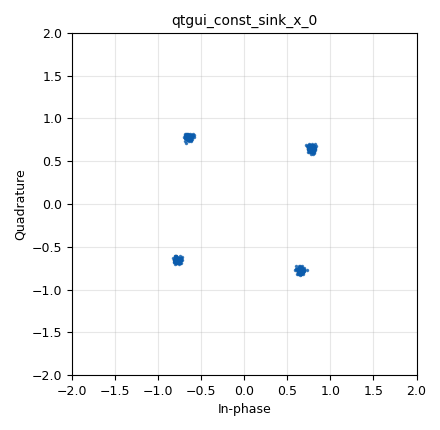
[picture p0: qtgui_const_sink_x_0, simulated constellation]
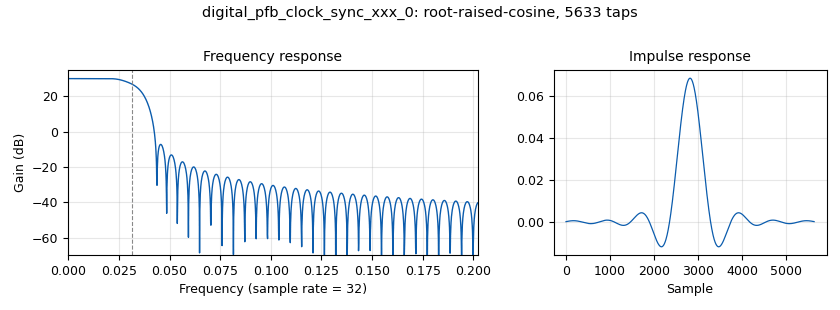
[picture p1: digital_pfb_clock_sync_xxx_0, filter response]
<?xml version='1.0' encoding='utf-8'?>
<?grc format='1' created='3.7.6'?>
<flow_graph>
<block>
<key>variable</key>
<param><key>id</key><value>samp_rate</value></param>
<param><key>value</key><value>32000</value></param>
</block>
<block>
<key>variable</key>
<param><key>id</key><value>taps</value></param>
<param><key>value</key><value>[1.0, 0.25-0.25j, 0.50 + 0.10j, -0.3 + 0.2j]</value></param>
</block>
<block>
<key>variable</key>
<param><key>id</key><value>rrc_taps</value></param>
<param><key>value</key><value>firdes.root_raised_cosine(nfilts, nfilts, 1.0/float(sps), 0.35, 11*sps*nfilts)</value></param>
</block>
<block>
<key>variable</key>
<param><key>id</key><value>nfilts</value></param>
<param><key>value</key><value>32</value></param>
</block>
<block>
<key>variable</key>
<param><key>id</key><value>excess_bw</value></param>
<param><key>value</key><value>0.35</value></param>
</block>
<block>
<key>variable</key>
<param><key>id</key><value>sps</value></param>
<param><key>value</key><value>16</value></param>
</block>
<block>
<key>digital_fll_band_edge_cc</key>
<param><key>id</key><value>digital_fll_band_edge_cc_0</value></param>
<param><key>type</key><value>cc</value></param>
<param><key>samps_per_sym</key><value>4</value></param>
<param><key>rolloff</key><value>excess_bw</value></param>
<param><key>filter_size</key><value>45</value></param>
<param><key>w</key><value>fll</value></param>
</block>
<block>
<key>variable_constellation_rect</key>
<param><key>id</key><value>qpsk</value></param>
<param><key>sym_map</key><value>[0, 1, 2, 3]</value></param>
<param><key>const_points</key><value>[0.707+0.707j, -0.707+0.707j, -0.707-0.707j, 0.707-0.707j]</value></param>
<param><key>rot_sym</key><value>4</value></param>
<param><key>real_sect</key><value>2</value></param>
<param><key>imag_sect</key><value>2</value></param>
<param><key>w_real_sect</key><value>1</value></param>
<param><key>w_imag_sect</key><value>1</value></param>
<param><key>softbits_lut</key><value>None</value></param>
</block>
<block>
<key>variable_constellation_rect</key>
<param><key>id</key><value>qpsk_0</value></param>
<param><key>sym_map</key><value>[0, 1, 3, 2]</value></param>
<param><key>const_points</key><value>[-1-1j, -1+1j, 1+1j, 1-1j]</value></param>
<param><key>rot_sym</key><value>4</value></param>
<param><key>real_sect</key><value>2</value></param>
<param><key>imag_sect</key><value>2</value></param>
<param><key>w_real_sect</key><value>1</value></param>
<param><key>w_imag_sect</key><value>1</value></param>
<param><key>softbits_lut</key><value>None</value></param>
</block>
<block>
<key>variable_constellation_rect</key>
<param><key>id</key><value>bpsk</value></param>
<param><key>sym_map</key><value>[0, 1]</value></param>
<param><key>const_points</key><value>[-1, 1]</value></param>
<param><key>rot_sym</key><value>2</value></param>
<param><key>real_sect</key><value>2</value></param>
<param><key>imag_sect</key><value>1</value></param>
<param><key>w_real_sect</key><value>1</value></param>
<param><key>w_imag_sect</key><value>1</value></param>
<param><key>softbits_lut</key><value>None</value></param>
</block>
<block>
<key>variable_constellation_rect</key>
<param><key>id</key><value>qam</value></param>
<param><key>sym_map</key><value>[0, 1, 2, 3]</value></param>
<param><key>const_points</key><value>[3.0-4.0j, -3.0-4.0j, -3.0+4.0j, 3.0+4.0j]</value></param>
<param><key>rot_sym</key><value>4</value></param>
<param><key>real_sect</key><value>2</value></param>
<param><key>imag_sect</key><value>2</value></param>
<param><key>w_real_sect</key><value>1</value></param>
<param><key>w_imag_sect</key><value>1</value></param>
<param><key>softbits_lut</key><value>None</value></param>
</block>
<block>
<key>variable_qtgui_range</key>
<param><key>id</key><value>agc</value></param>
<param><key>label</key><value>agc</value></param>
<param><key>value</key><value>7</value></param>
<param><key>start</key><value>0</value></param>
<param><key>stop</key><value>10</value></param>
<param><key>step</key><value>0.1</value></param>
<param><key>widget</key><value>slider</value></param>
<param><key>orient</key><value>Qt.Vertical</value></param>
<param><key>gui_hint</key><value>0,2,3,1</value></param>
</block>
<block>
<key>variable_qtgui_range</key>
<param><key>id</key><value>pcs</value></param>
<param><key>label</key><value>ClockSync LBW</value></param>
<param><key>value</key><value>0.2</value></param>
<param><key>start</key><value>0.0</value></param>
<param><key>stop</key><value>1</value></param>
<param><key>step</key><value>0.01</value></param>
<param><key>widget</key><value>slider</value></param>
<param><key>orient</key><value>Qt.Vertical</value></param>
<param><key>gui_hint</key><value>0,3,3,1</value></param>
</block>
<block>
<key>variable_qtgui_range</key>
<param><key>id</key><value>lms</value></param>
<param><key>label</key><value>LMS Gain</value></param>
<param><key>value</key><value>0.000001</value></param>
<param><key>start</key><value>0.000001</value></param>
<param><key>stop</key><value>0.1</value></param>
<param><key>step</key><value>0.0001</value></param>
<param><key>widget</key><value>slider</value></param>
<param><key>orient</key><value>Qt.Vertical</value></param>
<param><key>gui_hint</key><value>0,4,3,1</value></param>
</block>
<block>
<key>variable_qtgui_range</key>
<param><key>id</key><value>fll</value></param>
<param><key>label</key><value>FLL LBW</value></param>
<param><key>value</key><value>0.034</value></param>
<param><key>start</key><value>0.0</value></param>
<param><key>stop</key><value>6.28/10.0</value></param>
<param><key>step</key><value>0.0001</value></param>
<param><key>widget</key><value>slider</value></param>
<param><key>orient</key><value>Qt.Vertical</value></param>
<param><key>gui_hint</key><value>0,5,3,1</value></param>
</block>
<block>
<key>variable_qtgui_range</key>
<param><key>id</key><value>cl</value></param>
<param><key>label</key><value>CL LBW</value></param>
<param><key>value</key><value>0.34</value></param>
<param><key>start</key><value>0.0</value></param>
<param><key>stop</key><value>1.0</value></param>
<param><key>step</key><value>0.01</value></param>
<param><key>widget</key><value>slider</value></param>
<param><key>orient</key><value>Qt.Vertical</value></param>
<param><key>gui_hint</key><value>0,6,3,1</value></param>
</block>
<block>
<key>digital_pfb_clock_sync_xxx</key>
<param><key>id</key><value>digital_pfb_clock_sync_xxx_0</value></param>
<param><key>type</key><value>ccf</value></param>
<param><key>sps</key><value>sps</value></param>
<param><key>loop_bw</key><value>pcs</value></param>
<param><key>taps</key><value>rrc_taps</value></param>
<param><key>filter_size</key><value>nfilts</value></param>
<param><key>init_phase</key><value>16</value></param>
<param><key>max_dev</key><value>1.5</value></param>
<param><key>osps</key><value>sps/4</value></param>
</block>
<block>
<key>digital_lms_dd_equalizer_cc</key>
<param><key>id</key><value>digital_lms_dd_equalizer_cc_0</value></param>
<param><key>_enabled</key><value>False</value></param>
<param><key>mu</key><value>lms</value></param>
<param><key>num_taps</key><value>21</value></param>
<param><key>sps</key><value>4</value></param>
<param><key>cnst</key><value>qpsk_0</value></param>
</block>
<block>
<key>digital_costas_loop_cc</key>
<param><key>id</key><value>digital_costas_loop_cc_0</value></param>
<param><key>w</key><value>cl</value></param>
<param><key>order</key><value>4</value></param>
</block>
<block>
<key>qtgui_freq_sink_x</key>
<param><key>id</key><value>qtgui_freq_sink_x_0</value></param>
<param><key>_enabled</key><value>False</value></param>
<param><key>type</key><value>float</value></param>
<param><key>fftsize</key><value>1024/2</value></param>
<param><key>wintype</key><value>firdes.WIN_BLACKMAN_hARRIS</value></param>
<param><key>fc</key><value>0</value></param>
<param><key>bw</key><value>samp_rate</value></param>
<param><key>update_time</key><value>0.10/2</value></param>
<param><key>gui_hint</key><value>1,0,1,1</value></param>
<param><key>showports</key><value>True</value></param>
</block>
<block>
<key>variable_qtgui_range</key>
<param><key>id</key><value>carr_freq</value></param>
<param><key>label</key><value>carr_freq</value></param>
<param><key>value</key><value>8000</value></param>
<param><key>start</key><value>0</value></param>
<param><key>stop</key><value>22000</value></param>
<param><key>step</key><value>1000</value></param>
<param><key>widget</key><value>slider</value></param>
<param><key>orient</key><value>Qt.Vertical</value></param>
<param><key>gui_hint</key><value>0,1,3,1</value></param>
</block>
<block>
<key>digital_cma_equalizer_cc</key>
<param><key>id</key><value>digital_cma_equalizer_cc_0</value></param>
<param><key>num_taps</key><value>11</value></param>
<param><key>modulus</key><value>1</value></param>
<param><key>mu</key><value>lms</value></param>
<param><key>sps</key><value>sps/4</value></param>
</block>
<block>
<key>qtgui_const_sink_x</key>
<param><key>id</key><value>qtgui_const_sink_x_0</value></param>
<param><key>type</key><value>complex</value></param>
<param><key>size</key><value>1024/2</value></param>
<param><key>grid</key><value>True</value></param>
<param><key>update_time</key><value>0.10/2</value></param>
<param><key>gui_hint</key><value>0,0,1,1</value></param>
</block>
<block>
<key>analog_sig_source_x</key>
<param><key>id</key><value>analog_sig_source_x_0</value></param>
<param><key>_enabled</key><value>False</value></param>
<param><key>type</key><value>complex</value></param>
<param><key>samp_rate</key><value>samp_rate</value></param>
<param><key>waveform</key><value>analog.GR_COS_WAVE</value></param>
<param><key>freq</key><value>carr_freq</value></param>
<param><key>amp</key><value>1</value></param>
<param><key>offset</key><value>0</value></param>
</block>
<block>
<key>blocks_multiply_xx</key>
<param><key>id</key><value>blocks_multiply_xx_0</value></param>
<param><key>_enabled</key><value>False</value></param>
<param><key>type</key><value>complex</value></param>
</block>
<block>
<key>blocks_complex_to_real</key>
<param><key>id</key><value>blocks_complex_to_real_0</value></param>
<param><key>_enabled</key><value>False</value></param>
</block>
<block>
<key>audio_sink</key>
<param><key>id</key><value>audio_sink_0</value></param>
<param><key>_enabled</key><value>False</value></param>
<param><key>samp_rate</key><value>samp_rate</value></param>
</block>
<block>
<key>blocks_float_to_complex</key>
<param><key>id</key><value>blocks_float_to_complex_0</value></param>
<param><key>_enabled</key><value>False</value></param>
</block>
<block>
<key>blocks_multiply_xx</key>
<param><key>id</key><value>blocks_multiply_xx_1</value></param>
<param><key>_enabled</key><value>False</value></param>
<param><key>type</key><value>complex</value></param>
</block>
<block>
<key>audio_source</key>
<param><key>id</key><value>audio_source_0</value></param>
<param><key>_enabled</key><value>False</value></param>
<param><key>samp_rate</key><value>samp_rate</value></param>
</block>
<block>
<key>blocks_conjugate_cc</key>
<param><key>id</key><value>blocks_conjugate_cc_0</value></param>
<param><key>_enabled</key><value>False</value></param>
</block>
<block>
<key>analog_sig_source_x</key>
<param><key>id</key><value>analog_sig_source_x_0_0</value></param>
<param><key>_enabled</key><value>False</value></param>
<param><key>type</key><value>complex</value></param>
<param><key>samp_rate</key><value>samp_rate</value></param>
<param><key>waveform</key><value>analog.GR_COS_WAVE</value></param>
<param><key>freq</key><value>carr_freq</value></param>
<param><key>amp</key><value>1</value></param>
<param><key>offset</key><value>0</value></param>
</block>
<block>
<key>analog_const_source_x</key>
<param><key>id</key><value>analog_const_source_x_0</value></param>
<param><key>_enabled</key><value>False</value></param>
<param><key>type</key><value>float</value></param>
<param><key>const</key><value>0</value></param>
</block>
<block>
<key>digital_constellation_modulator</key>
<param><key>id</key><value>digital_constellation_modulator_0</value></param>
<param><key>constellation</key><value>qpsk</value></param>
<param><key>differential</key><value>True</value></param>
<param><key>samples_per_symbol</key><value>sps</value></param>
<param><key>excess_bw</key><value>excess_bw</value></param>
</block>
<block>
<key>analog_agc2_xx</key>
<param><key>id</key><value>analog_agc2_xx_0</value></param>
<param><key>type</key><value>complex</value></param>
<param><key>attack_rate</key><value>1e-1</value></param>
<param><key>decay_rate</key><value>1e-2</value></param>
<param><key>reference</key><value>1.0</value></param>
<param><key>gain</key><value>agc</value></param>
<param><key>max_gain</key><value>65536</value></param>
</block>
<block>
<key>blocks_throttle</key>
<param><key>id</key><value>blocks_throttle_0</value></param>
<param><key>type</key><value>complex</value></param>
<param><key>samples_per_second</key><value>samp_rate</value></param>
</block>
<block>
<key>analog_random_source_x</key>
<param><key>id</key><value>analog_random_source_x_0</value></param>
<param><key>type</key><value>byte</value></param>
<param><key>min</key><value>0</value></param>
<param><key>max</key><value>256</value></param>
<param><key>num_samps</key><value>10000</value></param>
<param><key>repeat</key><value>True</value></param>
</block>
<block>
<key>options</key>
<param><key>id</key><value>trcbpsk</value></param>
<param><key>generate_options</key><value>qt_gui</value></param>
<param><key>category</key><value>Custom</value></param>
</block>
<connection><source_block_id>analog_random_source_x_0</source_block_id><sink_block_id>digital_constellation_modulator_0</sink_block_id><source_key>0</source_key><sink_key>0</sink_key></connection>
<connection><source_block_id>blocks_multiply_xx_0</source_block_id><sink_block_id>blocks_complex_to_real_0</sink_block_id><source_key>0</source_key><sink_key>0</sink_key></connection>
<connection><source_block_id>blocks_conjugate_cc_0</source_block_id><sink_block_id>blocks_multiply_xx_1</sink_block_id><source_key>0</source_key><sink_key>0</sink_key></connection>
<connection><source_block_id>analog_const_source_x_0</source_block_id><sink_block_id>blocks_float_to_complex_0</sink_block_id><source_key>0</source_key><sink_key>1</sink_key></connection>
<connection><source_block_id>digital_pfb_clock_sync_xxx_0</source_block_id><sink_block_id>digital_lms_dd_equalizer_cc_0</sink_block_id><source_key>0</source_key><sink_key>0</sink_key></connection>
<connection><source_block_id>digital_costas_loop_cc_0</source_block_id><sink_block_id>qtgui_const_sink_x_0</sink_block_id><source_key>0</source_key><sink_key>0</sink_key></connection>
<connection><source_block_id>digital_lms_dd_equalizer_cc_0</source_block_id><sink_block_id>digital_fll_band_edge_cc_0</sink_block_id><source_key>0</source_key><sink_key>0</sink_key></connection>
<connection><source_block_id>digital_fll_band_edge_cc_0</source_block_id><sink_block_id>digital_costas_loop_cc_0</sink_block_id><source_key>0</source_key><sink_key>0</sink_key></connection>
<connection><source_block_id>analog_agc2_xx_0</source_block_id><sink_block_id>digital_pfb_clock_sync_xxx_0</sink_block_id><source_key>0</source_key><sink_key>0</sink_key></connection>
<connection><source_block_id>digital_cma_equalizer_cc_0</source_block_id><sink_block_id>digital_fll_band_edge_cc_0</sink_block_id><source_key>0</source_key><sink_key>0</sink_key></connection>
<connection><source_block_id>blocks_float_to_complex_0</source_block_id><sink_block_id>blocks_multiply_xx_1</sink_block_id><source_key>0</source_key><sink_key>1</sink_key></connection>
<connection><source_block_id>blocks_complex_to_real_0</source_block_id><sink_block_id>audio_sink_0</sink_block_id><source_key>0</source_key><sink_key>0</sink_key></connection>
<connection><source_block_id>audio_source_0</source_block_id><sink_block_id>blocks_float_to_complex_0</sink_block_id><source_key>0</source_key><sink_key>0</sink_key></connection>
<connection><source_block_id>analog_sig_source_x_0_0</source_block_id><sink_block_id>blocks_conjugate_cc_0</sink_block_id><source_key>0</source_key><sink_key>0</sink_key></connection>
<connection><source_block_id>analog_sig_source_x_0</source_block_id><sink_block_id>blocks_multiply_xx_0</sink_block_id><source_key>0</source_key><sink_key>1</sink_key></connection>
<connection><source_block_id>digital_pfb_clock_sync_xxx_0</source_block_id><sink_block_id>digital_cma_equalizer_cc_0</sink_block_id><source_key>0</source_key><sink_key>0</sink_key></connection>
<connection><source_block_id>audio_source_0</source_block_id><sink_block_id>qtgui_freq_sink_x_0</sink_block_id><source_key>0</source_key><sink_key>0</sink_key></connection>
<connection><source_block_id>digital_constellation_modulator_0</source_block_id><sink_block_id>blocks_throttle_0</sink_block_id><source_key>0</source_key><sink_key>0</sink_key></connection>
<connection><source_block_id>blocks_throttle_0</source_block_id><sink_block_id>analog_agc2_xx_0</sink_block_id><source_key>0</source_key><sink_key>0</sink_key></connection>
</flow_graph>
